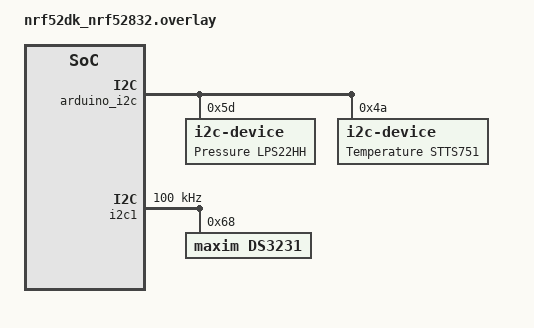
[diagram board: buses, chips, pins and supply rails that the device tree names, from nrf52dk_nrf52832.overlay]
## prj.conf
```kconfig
CONFIG_SMF=y
CONFIG_EVENTS=y
CONFIG_GPIO=y
CONFIG_I2C=y
CONFIG_LOG=y
CONFIG_FPU=y

CONFIG_CBPRINTF_FP_SUPPORT=y

CONFIG_NCS_SAMPLES_DEFAULTS=y

CONFIG_BT_DEVICE_NAME="Park_2"
CONFIG_BT=y
CONFIG_BT_PERIPHERAL=y

# Increase stack size for the main thread and System Workqueue
CONFIG_SYSTEM_WORKQUEUE_STACK_SIZE=2048
CONFIG_MAIN_STACK_SIZE=2048

CONFIG_I2C_NRFX=y
CONFIG_SHELL=y
CONFIG_SENSOR=y
CONFIG_PRINTK=y
CONFIG_TIMING_FUNCTIONS=y
```

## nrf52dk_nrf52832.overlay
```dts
// To get started, press Ctrl+Space to bring up the completion menu and view the available nodes.

// You can also use the buttons in the sidebar to perform actions on nodes.
// Actions currently available include:

// * Enabling / disabling the node
// * Adding the bus to a bus
// * Removing the node
// * Connecting ADC channels

// For more help, browse the DeviceTree documentation at https://docs.zephyrproject.org/latest/guides/dts/index.html
// You can also visit the nRF DeviceTree extension documentation at https://nrfconnect.github.io/vscode-nrf-connect/devicetree/nrfdevicetree.html

&arduino_i2c {
	my_lps22hh: my_lps22hh@5d {  // NOTE: names should be lowercase since DT compiler lowercases it.
		compatible = "i2c-device";
        reg = < 0x5d >;  // i2c 7-bit address is 0x5D, 8-bit ADDw (address + write) is 0xBA
        label = "Pressure LPS22HH";
		status = "okay";
	};
	my_stts751: my_stts751@4a {  // NOTE: names should be lowercase since DT compiler lowercases it.
		compatible = "i2c-device";
        reg = < 0x4a >;  // i2c 7-bit address is 0x4a, 8-bit ADDw (address + write) is 0x94
        label = "Temperature STTS751";
		status = "okay";
	};
};

&i2c1 {
    status = "okay";
    clock-frequency = <I2C_BITRATE_STANDARD>;
    my_ds3231: my_ds3231@68 {
        compatible = "maxim,ds3231";
        reg = <0x68>;
        label = "DS3231";  
        status = "okay";
    };
};
```

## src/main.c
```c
#include <zephyr/kernel.h>
#include <zephyr/logging/log.h>
#include <zephyr/drivers/i2c.h>
#include <zephyr/bluetooth/bluetooth.h>
#include <zephyr/bluetooth/gap.h>
#include <zephyr/bluetooth/uuid.h>
#include <zephyr/bluetooth/conn.h>
#include <zephyr/bluetooth/gatt.h>

#define STACKSIZE 1024
#define THREAD_BLE_PRIORITY 7
#define THREAD_PRES_PRIORITY 9
#define THREAD_TEMP_PRIORITY 11

LOG_MODULE_REGISTER(enviorenment_sensor, LOG_LEVEL_DBG);
K_MUTEX_DEFINE(i2c_mutex);

typedef struct {
	float pressure;
} SensorLPS22HHReading;
/* STEP 3.2 - Define the message queue */
K_MSGQ_DEFINE(my_LPS22HHmsgq, sizeof(SensorLPS22HHReading), 16, 4);

typedef struct {
	float temperature;
} SensorSTTS751Reading;
/* STEP 3.2 - Define the message queue */
K_MSGQ_DEFINE(my_STTS751msgq, sizeof(SensorSTTS751Reading), 16, 4);

/*
 *
 Bluetooth thread
 *
*/

#define CUSTOM_SERVICE_UUID   BT_UUID_INIT_16(0x1234)
#define CUSTOM_TEMP_UUID      BT_UUID_INIT_16(0x1234)
#define CUSTOM_PRESSURE_UUID  BT_UUID_INIT_16(0x1234)

static struct bt_uuid_16 custom_service_uuid = BT_UUID_INIT_16(0x1234);
static struct bt_uuid_16 custom_temp_uuid = BT_UUID_INIT_16(0x1235);
static struct bt_uuid_16 custom_pressure_uuid = BT_UUID_INIT_16(0x1236);
static struct bt_uuid_16 custom_sensor_uuid = BT_UUID_INIT_16(0x1237);

/* static struct bt_uuid_128 custom_temp_uuid = BT_UUID_INIT_128(
    0x21, 0x43, 0x65, 0x87, 0x09, 0xba, 0xdc, 0xfe,
    0x21, 0x43, 0x65, 0x87, 0x09, 0xba, 0xdc, 0xfe
);

static struct bt_uuid_128 custom_pressure_uuid = BT_UUID_INIT_128(
    0x34, 0x12, 0x78, 0x56, 0x9a, 0xbc, 0xde, 0xf0,
    0x34, 0x12, 0x78, 0x56, 0x9a, 0xbc, 0xde, 0xf0
); */

static struct bt_le_adv_param adv_param = BT_LE_ADV_PARAM_INIT(
    (
        BT_LE_ADV_OPT_CONNECTABLE
    ),      /* Connectable advertising */
    800,    /* Min Advertising Interval 500ms (800*0.625ms) */
    1001,   /* Max Advertising Interval 625.625ms (1001*0.625ms) */
    NULL    /* Set to NULL for undirected advertising */
); 

static const struct bt_data adv_packet_array[] = {
    BT_DATA_BYTES(BT_DATA_FLAGS, BT_LE_AD_NO_BREDR),
    BT_DATA(
        BT_DATA_NAME_COMPLETE, 
        CONFIG_BT_DEVICE_NAME, 
        sizeof(CONFIG_BT_DEVICE_NAME) - 1
        ),

};

static const struct bt_data scan_packet_array[] = {
    // now we will use a "real" BLE service UUID
    BT_DATA_BYTES(BT_DATA_UUID128_ALL, BT_UUID_16_ENCODE(0x1234)),
};

static void on_connected(struct bt_conn *conn, uint8_t err)
{
    if (err) {
		LOG_ERR("Connection failed (err %u)\n", err);
		return;
	}
	LOG_INF("Connected\n");
}

static void on_disconnected(struct bt_conn *conn, uint8_t reason)
{
	LOG_INF("Disconnected (reason %u)\n", reason);
}

struct bt_conn_cb connection_callbacks = {
	.connected = on_connected,
	.disconnected = on_disconnected,
};

BT_GATT_SERVICE_DEFINE(
    my_custom_service,
    BT_GATT_PRIMARY_SERVICE(&custom_service_uuid),
    BT_GATT_CHARACTERISTIC(
        &custom_temp_uuid.uuid,
        BT_GATT_CHRC_NOTIFY,
        BT_GATT_PERM_NONE,
        NULL, NULL, NULL
    ),
    BT_GATT_CCC(
        NULL,
        BT_GATT_PERM_READ | BT_GATT_PERM_WRITE
    ),
    BT_GATT_CHARACTERISTIC(
        &custom_pressure_uuid.uuid,
        BT_GATT_CHRC_NOTIFY,
        BT_GATT_PERM_NONE,
        NULL, NULL, NULL
    ),
    BT_GATT_CCC(
        NULL,
        BT_GATT_PERM_READ | BT_GATT_PERM_WRITE
    ),
    BT_GATT_CHARACTERISTIC(
        &custom_sensor_uuid.uuid,
        BT_GATT_CHRC_NOTIFY,
        BT_GATT_PERM_NONE,
        NULL, NULL, NULL
    ),
    BT_GATT_CCC(
        NULL,
        BT_GATT_PERM_READ | BT_GATT_PERM_WRITE
    )
);

/* BT_GATT_SERVICE_DEFINE(
    my_custom_service,
    BT_GATT_PRIMARY_SERVICE(CUSTOM_SERVICE_UUID),
    BT_GATT_CHARACTERISTIC(
        &CUSTOM_TEMP_UUID,
        BT_GATT_CHRC_NOTIFY,
        BT_GATT_PERM_NONE,
        NULL, NULL, NULL
    ),
    BT_GATT_CCC(
        NULL,
        BT_GATT_PERM_READ | BT_GATT_PERM_WRITE
    ),
    BT_GATT_CHARACTERISTIC(
        &CUSTOM_PRESSURE_UUID,
        BT_GATT_CHRC_NOTIFY,
        BT_GATT_PERM_NONE,
        NULL, NULL, NULL
    ),
    BT_GATT_CCC(
        NULL,
        BT_GATT_PERM_READ | BT_GATT_PERM_WRITE
    )
);
 
// BLE Service defined
BT_GATT_SERVICE_DEFINE(
    my_ess_service,
    BT_GATT_PRIMARY_SERVICE(BT_UUID_ESS),  // [0]
    BT_GATT_CHARACTERISTIC( 
        BT_UUID_TEMPERATURE,  // [1]
        BT_GATT_CHRC_NOTIFY,
        BT_GATT_PERM_NONE,
        NULL, NULL, NULL     // [2]
    ),    
    BT_GATT_CCC(    // [3]
        NULL,
        BT_GATT_PERM_READ | BT_GATT_PERM_WRITE
    ),
    BT_GATT_CHARACTERISTIC(
        BT_UUID_PRESSURE,  // [1]
        BT_GATT_CHRC_NOTIFY,
        BT_GATT_PERM_NONE,
        NULL, NULL, NULL     // [2]
    ), 
    BT_GATT_CCC(    // [3]
        NULL,
        BT_GATT_PERM_READ | BT_GATT_PERM_WRITE
    )
); */

// notifying the client
void sensor_read_and_notify() {
	SensorLPS22HHReading tempLPS22HH;
	k_msgq_get(&my_LPS22HHmsgq, &tempLPS22HH, K_FOREVER);
	SensorSTTS751Reading tempSTTS751;
	k_msgq_get(&my_STTS751msgq, &tempSTTS751, K_FOREVER);
    LOG_DBG("Current temperature is %.3f C", tempSTTS751.temperature);
    LOG_DBG("Current pressure is %.3f hPa\n", tempLPS22HH.pressure);

    int publishTemp = (int)(tempSTTS751.temperature * 100);
    int publishPres = (int)(tempLPS22HH.pressure * 1000);
    int publishSensor = (int)(1000);
    
    bt_gatt_notify(  // actual call to notify and change the [2] value
        NULL,
        &my_custom_service.attrs[2],
        &publishTemp,
        sizeof(publishTemp)
    );
    bt_gatt_notify(  // actual call to notify and change the [4] value
        NULL,
        &my_custom_service.attrs[4],
        &publishPres,
        sizeof(publishPres)
    );

    bt_gatt_notify(  // actual call to notify and change the [4] value
        NULL,
        &my_custom_service.attrs[6],
        &publishSensor,
        sizeof(publishSensor)
    );
    
}

void thread_ble(void) {
    int err;
    
    err = bt_enable(NULL);
    if (err) {
        LOG_ERR("Bluetooth init failed (err %d)\n", err);
        return;
    }

    bt_conn_cb_register(&connection_callbacks);
    LOG_INF("Bluetooth initialized\n");

    err = bt_le_adv_start(
        &adv_param, 
        adv_packet_array, ARRAY_SIZE(adv_packet_array), 
        scan_packet_array, ARRAY_SIZE(scan_packet_array));

    if (err) {
        LOG_ERR("Advertising failed to start (err %d)\n", err);
        return;
    }

    LOG_INF("Advertising successfully started\n");

    while (true) {
        sensor_read_and_notify();
        k_msleep(1 * MSEC_PER_SEC);
    }
}


/*
 *
 Pressure thread
 *
*/
const uint8_t LPS22HH_PRES_XL_REG = 0x28;
const uint8_t LPS22HH_PRES_L_REG = 0x29;
const uint8_t LPS22HH_PRES_H_REG = 0x2A;
const uint8_t LPS22HH_CTRL_REG = 0x10;

float get_pressure_lps22hh(uint8_t  byte_XL, uint8_t  byte_L, uint8_t  byte_H){
    int pres_read_temp = (int)((byte_H<<16) | (byte_L<<8) | byte_XL);
    float pres_read = pres_read_temp/4096;
    return pres_read;
}

void thread_pres(void)
{
    uint8_t  byte_XL;
    uint8_t  byte_L;
    uint8_t  byte_H;
    int err;
    
    const struct i2c_dt_spec dt_spec_lps22hh = I2C_DT_SPEC_GET(DT_NODELABEL(my_lps22hh));
    uint8_t config[2] = {LPS22HH_CTRL_REG,0x20}; // setting update rate to 10 Hz
    
    k_mutex_lock(&i2c_mutex, K_FOREVER);
    if (i2c_is_ready_dt(&dt_spec_lps22hh) != true) {
        LOG_ERR("I2C0 bus not ready for some reason!");
        return;
    }
    err = i2c_write_dt(&dt_spec_lps22hh, config, sizeof(config));
	if(err != 0){
		printk("Failed to write to I2C device address %x at Reg. %x \n", dt_spec_lps22hh.addr,config[0]);
		return;
	}
    k_mutex_unlock(&i2c_mutex);        
	
    while (true) {
        k_mutex_lock(&i2c_mutex, K_FOREVER);
        err = i2c_write_read_dt(&dt_spec_lps22hh, &LPS22HH_PRES_H_REG,1,&byte_H,1); //MSB read
        if(err != 0){
            LOG_ERR("Failed to write/read I2C device address %d at Reg. %x \r\n", dt_spec_lps22hh.addr,LPS22HH_PRES_H_REG);
        }
        err = i2c_write_read_dt(&dt_spec_lps22hh, &LPS22HH_PRES_L_REG,1,&byte_L,1); //Middle byte read
        if(err != 0){
            LOG_ERR("Failed to write/read I2C device address %d at Reg. %x \r\n", dt_spec_lps22hh.addr,LPS22HH_PRES_L_REG);
        }
        err = i2c_write_read_dt(&dt_spec_lps22hh, &LPS22HH_PRES_XL_REG,1,&byte_XL,1); //LSB read
        if(err != 0){
            LOG_ERR("Failed to write/read I2C device address %d at Reg. %x \r\n", dt_spec_lps22hh.addr,LPS22HH_PRES_XL_REG);
        }
        k_mutex_unlock(&i2c_mutex);
        
        float pressure = get_pressure_lps22hh(byte_XL,byte_L, byte_H); // convert reading to pressure
        
        while (k_msgq_put(&my_LPS22HHmsgq, &pressure, K_NO_WAIT) != 0) { // messege queue the pressure
            k_msgq_purge(&my_LPS22HHmsgq);
        }
        k_msleep(1 * MSEC_PER_SEC);
    }
}


/*
 *
 Temperature thread
 *
*/
const uint8_t STTS751_TEMP_HIGH_REG = 0x00;
const uint8_t STTS751_TEMP_LOW_REG = 0x02;

float get_temperature_stts751(uint8_t  byte_high, uint8_t  byte_low){
    float output_val = (float)byte_high;
    output_val += ((byte_low & 0x80)!=0) * 0.5;
    output_val += ((byte_low & 0x40)!=0) * 0.25;
    output_val += ((byte_low & 0x20)!=0) * 0.125;
    output_val += ((byte_low & 0x10)!=0) * 0.0625;
    return output_val;
}

void thread_temp(void)
{
    uint8_t  byte_high;
    uint8_t  byte_low;
    int err;

    const struct i2c_dt_spec dt_spec_stts751 = I2C_DT_SPEC_GET(DT_NODELABEL(my_stts751));
    k_mutex_lock(&i2c_mutex, K_FOREVER);
    if (i2c_is_ready_dt(&dt_spec_stts751) != true) {
        LOG_ERR("I2C0 bus not ready for some reason!");
        return;
    }
    k_mutex_unlock(&i2c_mutex);
    
    while (true) {        
        k_mutex_lock(&i2c_mutex, K_FOREVER);
        err = i2c_write_read_dt(&dt_spec_stts751, &STTS751_TEMP_HIGH_REG,1,&byte_high,1); // High reg read
        if(err != 0){
            LOG_ERR("Failed to write/read I2C device address %d at Reg. %x \r\n", dt_spec_stts751.addr,STTS751_TEMP_HIGH_REG);
        }
        err = i2c_write_read_dt(&dt_spec_stts751, &STTS751_TEMP_LOW_REG,1,&byte_low,1); // Low reg read
        if(err != 0){
            LOG_ERR("Failed to write/read I2C device address %d at Reg. %x \r\n", dt_spec_stts751.addr,STTS751_TEMP_LOW_REG);
        }
        k_mutex_unlock(&i2c_mutex);
        
        float temperature = get_temperature_stts751(byte_high,byte_low); // convert reading to temperature
        
        while (k_msgq_put(&my_STTS751msgq, &temperature, K_NO_WAIT) != 0) { // messege queue the temperature
            /* message queue is full: purge old data & try again */
            k_msgq_purge(&my_STTS751msgq);
        }
        
        k_msleep(1 * MSEC_PER_SEC);

    }
}

/*
 *
 Set above threads
 *
*/
K_THREAD_DEFINE(thread_ble_id, STACKSIZE, thread_ble, NULL, NULL, NULL, THREAD_BLE_PRIORITY, 0, 0);
K_THREAD_DEFINE(thread_pres_id, STACKSIZE, thread_pres, NULL, NULL, NULL, THREAD_PRES_PRIORITY, 0, 0);
K_THREAD_DEFINE(thread_temp_id, STACKSIZE, thread_temp, NULL, NULL, NULL, THREAD_TEMP_PRIORITY, 0, 0);

/*
 *
 Main thread
 *
*/
int main(void)
{
	while(1){
		int uptime = (int)(k_uptime_get()/1000);
		LOG_INF("Time elapsed is %d s",uptime);		
		k_sleep(K_MSEC(2000));
	}
}
```

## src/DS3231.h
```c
#ifndef DS3231_h
#define DS3231_h
#endif 

#include <zephyr/kernel.h>
#include <zephyr/device.h>
#include <zephyr/drivers/i2c.h>
#include <time.h> 


enum display_options {SECOND, MINUTE, HOUR, DAY_OF_WEEK, DATE, MONTH, YEAR, TIME, ALL};

enum run_states {clock_stop, clock_start};

#define DS3231_I2C_ADDRESS  0X68


void ds3231_init(const struct device *i2c_dev);
bool ds3231_set_time(const struct device *i2c_dev, struct tm *time);
bool ds3231_get_time(const struct device *i2c_dev, struct tm *time);
void ds3231_start_clock(const struct device *i2c_dev);
void ds3231_stop_clock(const struct device *i2c_dev);



#define DS3231_REG_SECONDS   0x00
#define DS3231_REG_MINUTES   0x01
#define DS3231_REG_HOURS     0x02
#define DS3231_REG_DAY       0x03
#define DS3231_REG_DATE      0x04
#define DS3231_REG_MONTH     0x05
#define DS3231_REG_YEAR      0x06
#define DS3231_REG_CONTROL   0x0E
#define DS3231_REG_STATUS    0x0F

#define DS3231_STATUS_OSF    0x80  // prob not needed
#define DS3231_CONTROL_CONV  0x20  // prob not needed

// error handling 
#define DS3231_ERR_OK        0
#define DS3231_ERR_COMM      -1
#define DS3231_ERR_PARAM     -2



// utiliies , handles leap year stuff --> not really necessary but a nice edge case consideration 


#define BCD_TO_BIN(val) (((val) & 0x0F) + ((val) >> 4) * 10)
#define BIN_TO_BCD(val) (((val) / 10) << 4) + ((val) % 10)




// last revised : 05/06/2024 

// subject to change 
```
